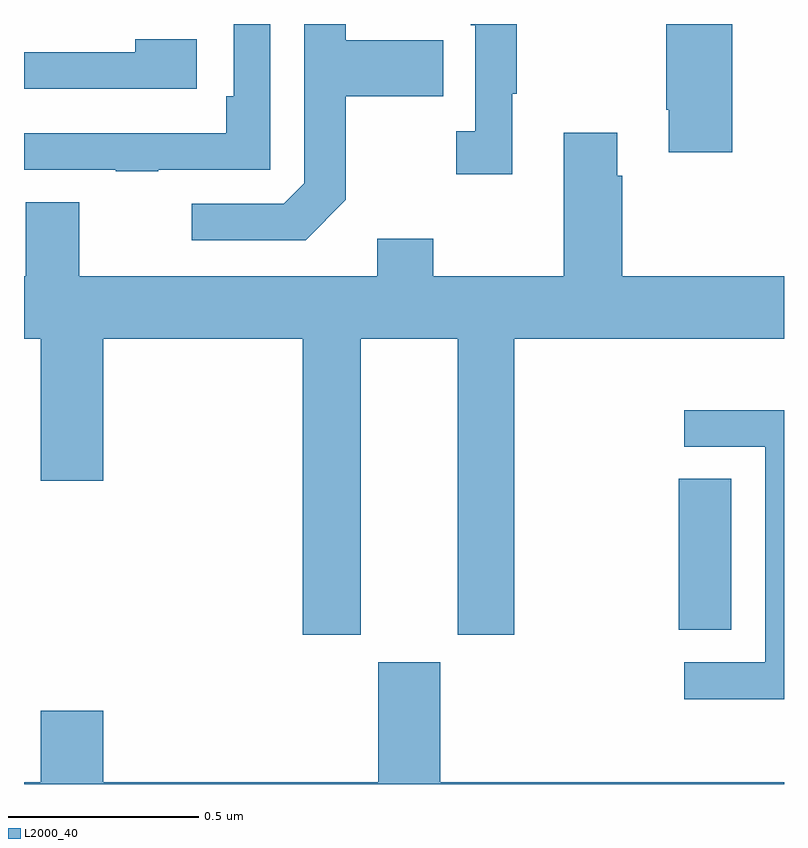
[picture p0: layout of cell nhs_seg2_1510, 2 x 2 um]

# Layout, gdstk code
import gdstk
lib = gdstk.Library(unit=1e-6, precision=1e-09)
def R(c, l, rs):  # rectangles x0, y0, x1, y1
    for r in rs: c.add(gdstk.rectangle(r[:2], r[2:], *l))
def P(c, l, *ps):  # polygons
    for p in ps: c.add(gdstk.Polygon(p, *l))
L2000_40 = (2000, 40)

nhs_seg2_1510 = lib.new_cell('nhs_seg2_1510')
R(nhs_seg2_1510, L2000_40, [(130.723,644.206,130.861,644.603)])
P(nhs_seg2_1510, L2000_40, [(130.864,645.8),(130.69,645.8),(130.69,645.574),(130.697,645.574),(130.697,645.462),(130.864,645.462)],
  [(129.353,645.417),(129.648,645.417),(129.648,645.8),(129.552,645.8),(129.552,645.61),(129.532,645.61),(129.532,645.513),(129,645.513),(129,645.417),(129.241,645.417),(129.241,645.412),(129.353,645.412)],
  [(130.285,645.617),(130.297,645.617),(130.297,645.8),(130.176,645.8),(130.176,645.797),(130.188,645.797),(130.188,645.518),(130.137,645.518),(130.137,645.405),(130.285,645.405)],
  [(129.847,645.337),(129.847,645.61),(130.103,645.61),(130.103,645.757),(129.847,645.757),(129.847,645.8),(129.738,645.8),(129.738,645.381),(129.684,645.327),(129.441,645.327),(129.441,645.231),(129.741,645.231)],
  [(129.454,645.76),(129.293,645.76),(129.293,645.726),(129,645.726),(129,645.63),(129.454,645.63)],
  [(131,645.136),(130.574,645.136),(130.574,645.401),(130.561,645.401),(130.561,645.514),(130.421,645.514),(130.421,645.136),(130.077,645.136),(130.077,645.235),(129.929,645.235),(129.929,645.136),(129.145,645.136),(129.145,645.331),(129.005,645.331),(129.005,645.136),(129,645.136),(129,644.972),(129.044,644.972),(129.044,644.598),(129.208,644.598),(129.208,644.972),(129.733,644.972),(129.733,644.193),(129.886,644.193),(129.886,644.972),(130.142,644.972),(130.142,644.193),(130.29,644.193),(130.29,644.972),(131,644.972)],
  [(131,644.784),(130.737,644.784),(130.737,644.688),(130.95,644.688),(130.95,644.121),(130.737,644.121),(130.737,644.023),(131,644.023)],
  [(131,643.804),(130.096,643.804),(130.096,644.121),(129.932,644.121),(129.932,643.804),(129.208,643.804),(129.208,643.993),(129.044,643.993),(129.044,643.804),(129,643.804),(129,643.8),(131,643.8)])

lib.write_gds('nhs_seg2_1510.gds')
